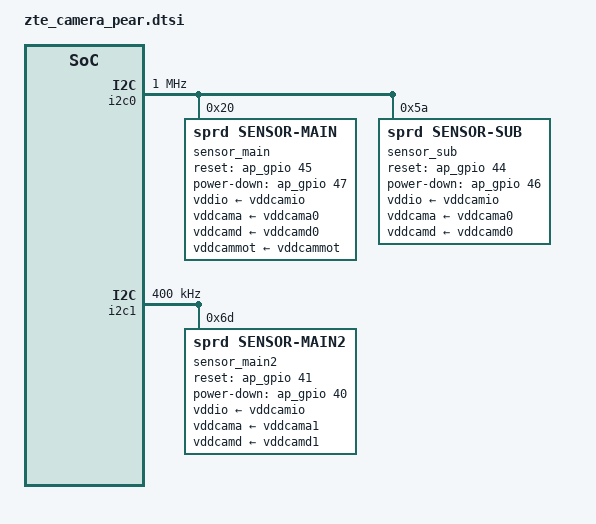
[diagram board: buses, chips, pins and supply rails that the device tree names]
&i2c0 {
	status = "okay";
	clock-frequency = <1000000>;
	#address-cells = <1>;
	#size-cells = <0>;

	sensor_main: sensor-main@20 {
		compatible = "sprd,sensor-main";
		reg = <0x20>;
		clock-names = "clk_src","sensor_eb",
			"clk_96m","clk_76m8",
			"clk_48m","clk_26m";
		clocks = <&mm_clk CLK_SENSOR0>,<&mm_gate CLK_MM_SENSOR0_EB>,
				<&pll1 CLK_TWPLL_96M>,<&pll1 CLK_TWPLL_76M8>,
				<&pll1 CLK_TWPLL_48M>,<&ext_26m>;
		vddio-supply = <&vddcamio>;
		vddcama-supply = <&vddcama0>;
		 vddcamd-supply = <&vddcamd0>;
		vddcammot-supply = <&vddcammot>;
		reset-gpios = <&ap_gpio 45 0>;
		power-down-gpios = <&ap_gpio 47 0>;
		sprd,phyid = <0>;
		csi = <&csi0>;
		power-domains = <&mm_domain>;
	};

	sensor_sub: sensor-sub@5a {
		compatible = "sprd,sensor-sub";
		reg = <0x5a>;
		clock-names = "clk_src","sensor_eb",
			"clk_96m","clk_76m8",
			"clk_48m","clk_26m";
		clocks = <&mm_clk CLK_SENSOR0>,<&mm_gate CLK_MM_SENSOR0_EB>,
				<&pll1 CLK_TWPLL_96M>,<&pll1 CLK_TWPLL_76M8>,
				<&pll1 CLK_TWPLL_48M>,<&ext_26m>;
		vddio-supply = <&vddcamio>;
		vddcama-supply = <&vddcama0>;
		vddcamd-supply = <&vddcamd0>;
		//vddcammot-supply = <&vddcammot>;
		reset-gpios = <&ap_gpio 44 0>;
		power-down-gpios = <&ap_gpio 46 0>;
		sprd,phyid = <3>;
		csi = <&csi1>;
		power-domains = <&mm_domain>;
	};
};

&i2c1 {
	status = "okay";
	clock-frequency = <400000>;
	#address-cells = <1>;
	#size-cells = <0>;

	sensor_main2: sensor-main2@6d {
		compatible = "sprd,sensor-main2";
		reg = <0x6d>;
		clock-names = "clk_src","sensor_eb",
			"clk_96m","clk_76m8",
			"clk_48m","clk_26m";
		clocks = <&mm_clk CLK_SENSOR1>,<&mm_gate CLK_MM_SENSOR1_EB>,
				<&pll1 CLK_TWPLL_96M>,<&pll1 CLK_TWPLL_76M8>,
				<&pll1 CLK_TWPLL_48M>,<&ext_26m>;
		vddio-supply = <&vddcamio>;
		vddcama-supply = <&vddcama1>;
		vddcamd-supply = <&vddcamd1>;
		reset-gpios = <&ap_gpio 41 0>;
		power-down-gpios = <&ap_gpio 40 0>;
		sprd,phyid = <4>;
		csi = <&csi1>;
		power-domains = <&mm_domain>;
	};
};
